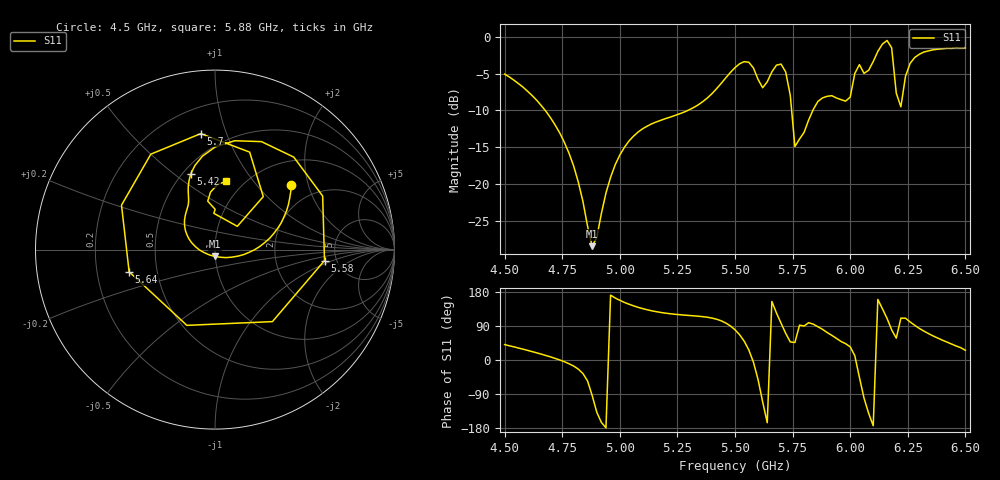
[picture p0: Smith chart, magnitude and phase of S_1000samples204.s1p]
! TOUCHSTONE file generated by CST MICROWAVE STUDIO
! Date and time: Thu Oct 27 09:07:45 2022
! Project name: L.cst
! Parameters = {Di=1.27; Epsilon_r=1.56; InnerDiameter=1.27; Length=2; Lf=10; Lg=60; OuterConductorThickness=0.2921; OuterDiameter=3.6; Wf=3; Wp=41.2; de=1.5; df=6.8; g=0.8; gx=1.69666; gy=1.44019; h=2.34; hf=1.524; px=13.0503; py=14.2571; w=9.7; wx=11.3536; wy=12.8169}
! Header version: 2018
! Port assignment regex: !\s*Touchstone port\s*([0-9]+)\s*=\s*(CST MWS port|CST DS port)\s*([0-9]+|Zmin|Zmax)\s*\(\"(.*)\"\)(\s*mode\s*([0-9]+))?.*
! Touchstone port assignment:
! Touchstone port 1 = CST MWS port 1 ("")
# GHz S DB R 50
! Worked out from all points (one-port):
!   101 points, 4.5 GHz to 6.5 GHz, reference 50 ohm
!   lowest |S11| = -28.4 dB at 4.88 GHz (marker M1), VSWR 1.08, Z = 49.6 - j3.76 ohm
!   |S11| at or under -10 dB: 4.676 GHz to 5.296 GHz (619.6 MHz wide, 12.4 % of centre); 5.746 GHz to 5.838 GHz (92.2 MHz wide, 1.59 % of centre)
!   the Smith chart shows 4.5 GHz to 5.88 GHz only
!   S11 on the Smith chart (normalised r, x): 4.5 GHz: 1.49, +1.56; 5.42 GHz: 0.55, +0.58; 5.58 GHz: 4.01, -0.78; 5.64 GHz: 0.34, -0.11; 5.7 GHz: 0.36, +0.82; 5.88 GHz: 0.83, +0.74
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4.5  -5.09 40.6
4.76  -14.39 -4.6
4.88  -28.42 -93.5
5  -16.06 157.5
5.26  -10.46 119.5
5.42  -7.06 107.7
5.5  -4.20 79.7
5.54  -3.39 49.6
5.58  -4.25 -5.7
5.62  -6.93 -110.4
5.64  -6.12 -165.5
5.66  -4.78 154.6
5.7  -3.73 97.0
5.74  -7.97 47.7
5.76  -14.91 46.2
5.88  -8.31 80.9
6  -8.21 34.8
6.02  -5.00 11.3
6.04  -3.80 -45.8
6.06  -4.98 -100.5
6.12  -2.00 159.8
6.16  -0.52 109.7
6.18  -1.52 79.5
6.2  -7.66 57.6
6.22  -9.52 110.5
6.26  -3.63 100.4
6.36  -1.79 63.5
6.5  -1.53 25.7
